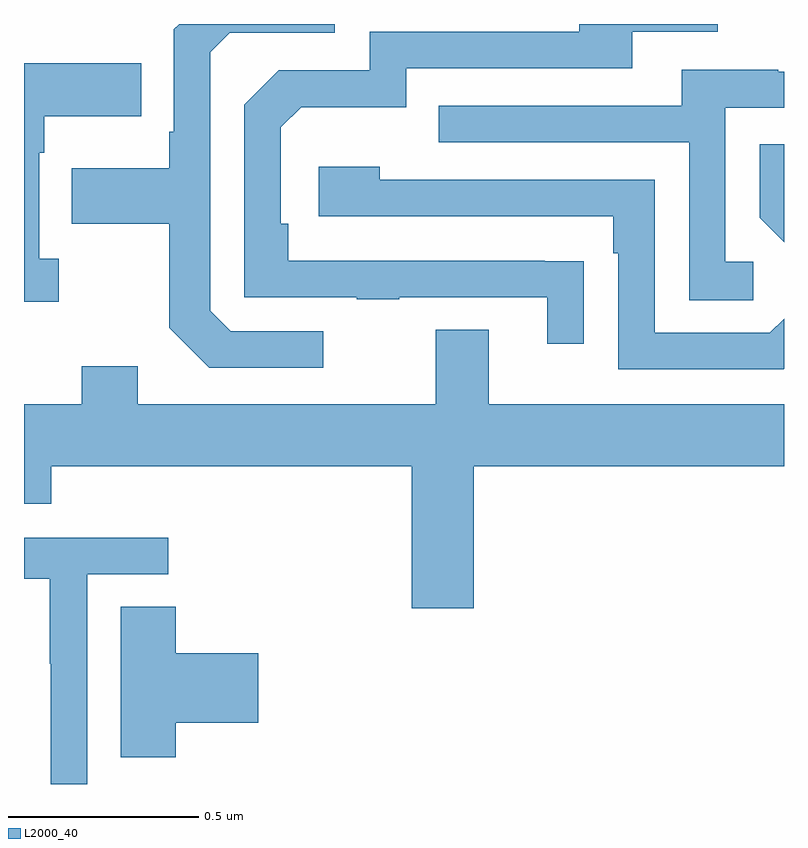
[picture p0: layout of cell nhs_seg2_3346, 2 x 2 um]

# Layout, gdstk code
import gdstk
lib = gdstk.Library(unit=1e-6, precision=1e-09)
def P(c, l, *ps):  # polygons
    for p in ps: c.add(gdstk.Polygon(p, *l))
L2000_40 = (2000, 40)

nhs_seg2_3346 = lib.new_cell('nhs_seg2_3346')
P(nhs_seg2_3346, L2000_40, [(153.473,648.176),(153.371,648.176),(153.371,648.177),(152.696,648.177),(152.696,648.274),(152.676,648.274),(152.676,648.528),(152.729,648.581),(153.006,648.581),(153.006,648.684),(153.601,648.684),(153.601,648.78),(153.826,648.78),(153.826,648.8),(153.461,648.8),(153.461,648.78),(152.91,648.78),(152.91,648.678),(152.67,648.678),(152.58,648.588),(152.58,648.081),(152.875,648.081),(152.875,648.076),(152.987,648.076),(152.987,648.081),(153.377,648.081),(153.377,647.958),(153.473,647.958)],
  [(152.788,647.991),(152.544,647.991),(152.49,648.045),(152.49,648.726),(152.541,648.777),(152.818,648.777),(152.818,648.8),(152.408,648.8),(152.394,648.786),(152.394,648.517),(152.382,648.517),(152.382,648.421),(152.125,648.421),(152.125,648.274),(152.382,648.274),(152.382,648.001),(152.487,647.895),(152.788,647.895)],
  [(152.092,648.182),(152.04,648.182),(152.04,648.461),(152.053,648.461),(152.053,648.557),(152.309,648.557),(152.309,648.697),(152,648.697),(152,648.069),(152.092,648.069)],
  [(153.919,648.174),(153.846,648.174),(153.846,648.579),(154,648.579),(154,648.675),(153.985,648.675),(153.985,648.679),(153.731,648.679),(153.731,648.585),(153.091,648.585),(153.091,648.489),(153.75,648.489),(153.75,648.073),(153.919,648.073)],
  [(154,648.484),(153.936,648.484),(153.936,648.29),(154,648.226)],
  [(154,647.893),(154,648.025),(153.963,647.988),(153.66,647.988),(153.66,648.39),(152.936,648.39),(152.936,648.424),(152.775,648.424),(152.775,648.294),(153.551,648.294),(153.551,648.197),(153.564,648.197),(153.564,647.892),(153.999,647.892)],
  [(153.184,647.636),(154,647.636),(154,647.8),(153.223,647.8),(153.223,647.995),(153.083,647.995),(153.083,647.8),(152.299,647.8),(152.299,647.899),(152.152,647.899),(152.152,647.8),(152,647.8),(152,647.537),(152.072,647.537),(152.072,647.636),(153.02,647.636),(153.02,647.262),(153.184,647.262)],
  [(152.166,647.352),(152.38,647.352),(152.38,647.448),(152,647.448),(152,647.34),(152.068,647.34),(152.068,647.116),(152.07,647.116),(152.07,646.8),(152.166,646.8)],
  [(152.399,646.961),(152.617,646.961),(152.617,647.144),(152.399,647.144),(152.399,647.267),(152.255,647.267),(152.255,646.87),(152.399,646.87)])

lib.write_gds('nhs_seg2_3346.gds')
